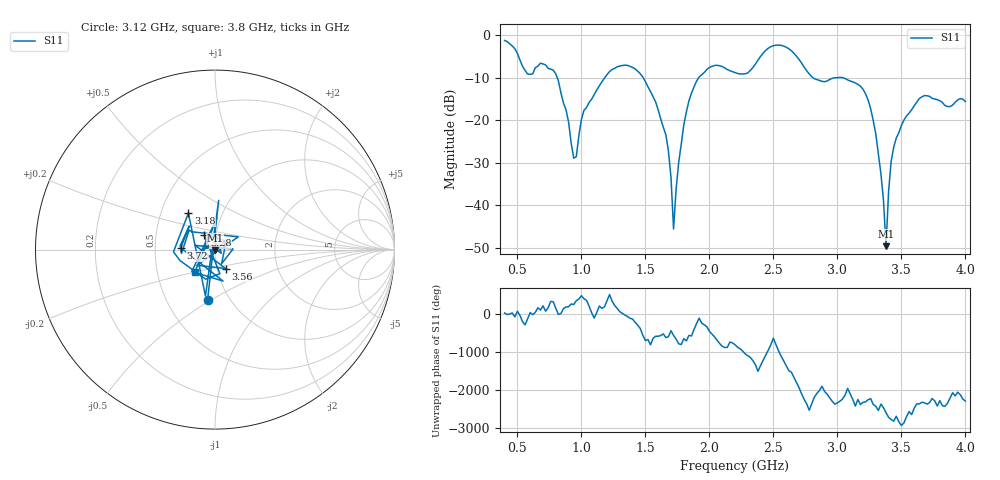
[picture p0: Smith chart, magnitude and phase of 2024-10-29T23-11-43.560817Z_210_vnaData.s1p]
!Created with skrf (http://scikit-rf.org).
# Hz S RI R 50.0
!freq ReS11 ImS11
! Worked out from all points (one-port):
!   181 points, 400 MHz to 4 GHz, reference 50 ohm
!   lowest |S11| = -49.6 dB at 3.38 GHz (marker M1), VSWR 1.01, Z = 50 - j0.333 ohm
!   |S11| at or under -10 dB: 810.9 MHz to 1.183 GHz (371.8 MHz wide, 37.3 % of centre); 1.483 GHz to 1.916 GHz (433.3 MHz wide, 25.5 % of centre); 3.042 GHz to end of sweep (the widest 3 of 4)
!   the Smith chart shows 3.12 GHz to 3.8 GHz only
!   S11 on the Smith chart (normalised r, x): 3.12 GHz: 0.79, -0.48; 3.18 GHz: 0.69, +0.30; 3.28 GHz: 0.88, +0.14; 3.56 GHz: 1.10, -0.24; 3.72 GHz: 0.68, +0.01; 3.8 GHz: 0.77, -0.20
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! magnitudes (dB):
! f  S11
! 400 MHz  -1.3
! 580 MHz  -9.1
! 780 MHz  -8.2
! 860 MHz  -16.0
! 960 MHz  -28.5
! 1.02 GHz  -17.7
! 1.3 GHz  -7.3
! 1.58 GHz  -15.7
! 1.68 GHz  -27.3
! 1.72 GHz  -45.5
! 1.76 GHz  -29.9
! 1.84 GHz  -15.4
! 1.92 GHz  -9.8
! 2.2 GHz  -8.8
! 2.5 GHz  -2.5
! 2.66 GHz  -4.2
! 2.82 GHz  -10.2
! 3.1 GHz  -10.8
! 3.12 GHz  -11.0
! 3.18 GHz  -12.0
! 3.28 GHz  -20.1
! 3.34 GHz  -32.5
! 3.38 GHz  -49.6
! 3.42 GHz  -29.6
! 3.56 GHz  -18.3
! 3.72 GHz  -14.4
! 3.8 GHz  -15.4
! 4 GHz  -15.6
